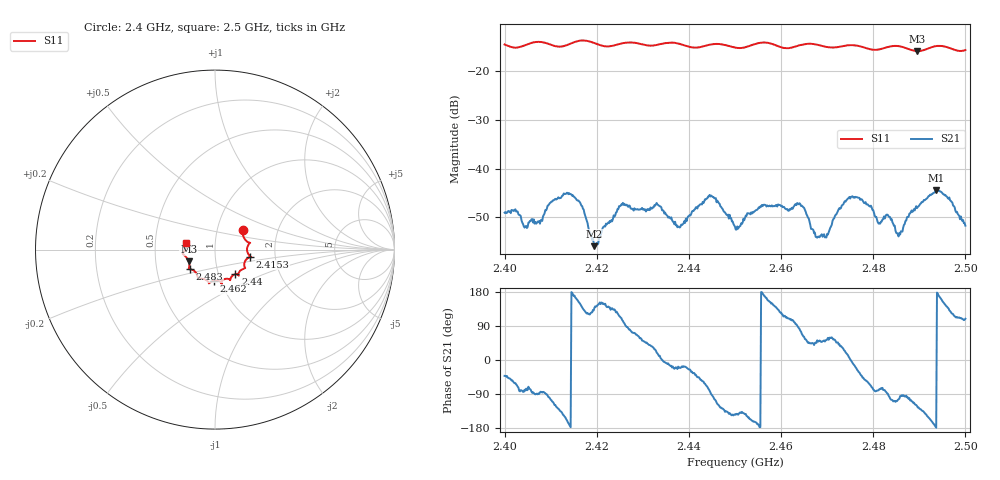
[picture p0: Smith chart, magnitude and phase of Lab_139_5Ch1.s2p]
# Hz S RI R 50
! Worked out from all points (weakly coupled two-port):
!   601 points, 2.4 GHz to 2.5 GHz, reference 50 ohm
!   highest |S21| = -44.43 dB at 2.4937 GHz (marker M1); lowest = -55.9 dB at 2.4195 GHz (marker M2)
!   lowest |S11| = -15.9 dB at 2.4895 GHz (marker M3), VSWR 1.38, Z = 36.9 - j4.99 ohm
!   |S11| at or under -10 dB: start of sweep to end of sweep
!   S12 and S22 are empty: the file has one direction only
!   S11 on the Smith chart (normalised r, x): 2.4 GHz: 1.33, +0.29; 2.4153 GHz: 1.48, -0.12; 2.44 GHz: 1.20, -0.34; 2.462 GHz: 0.93, -0.33; 2.483 GHz: 0.74, -0.17; 2.5 GHz: 0.72, +0.06
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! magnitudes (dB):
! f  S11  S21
! 2.4 GHz  -14.5  -49.1
! 2.4045 GHz  -14.7  -51.9
! 2.4153 GHz  -14.0  -46.0
! 2.4167 GHz  -13.7  -47.6
! 2.4195 GHz  -14.2  -55.9
! 2.4253 GHz  -14.3  -47.4
! 2.4333 GHz  -14.6  -47.5
! 2.4377 GHz  -14.3  -51.9
! 2.44 GHz  -15.0  -49.7
! 2.4448 GHz  -14.5  -45.6
! 2.45 GHz  -15.2  -52.0
! 2.462 GHz  -15.2  -48.5
! 2.4645 GHz  -14.6  -47.6
! 2.4667 GHz  -14.4  -52.4
! 2.47 GHz  -15.1  -53.4
! 2.4753 GHz  -14.7  -45.8
! 2.483 GHz  -15.1  -49.5
! 2.4833 GHz  -15.0  -49.8
! 2.4858 GHz  -14.9  -53.6
! 2.4895 GHz  -15.9  -48.1
! 2.4937 GHz  -14.8  -44.4
! 2.5 GHz  -15.7  -51.7
